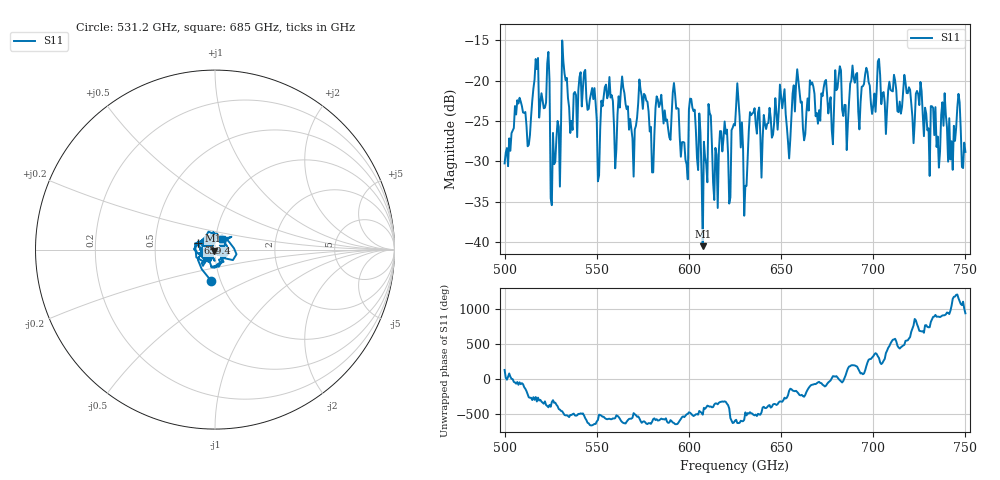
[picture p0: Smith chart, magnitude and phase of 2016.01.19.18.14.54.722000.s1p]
!Created with skrf (http://scikit-rf.org).
# GHz S RI R 50.0
!freq ReS11 ImS11
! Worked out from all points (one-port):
!   401 points, 500 GHz to 750 GHz, reference 50 ohm
!   lowest |S11| = -40.5 dB at 607.5 GHz (marker M1), VSWR 1.02, Z = 49.2 - j0.529 ohm
!   |S11| at or under -10 dB: start of sweep to end of sweep
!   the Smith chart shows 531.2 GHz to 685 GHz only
!   S11 on the Smith chart (normalised r, x): 531.2 GHz: 0.90, -0.33; 659.4 GHz: 0.83, +0.06; 685 GHz: 1.07, +0.13
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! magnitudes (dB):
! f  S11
! 500 GHz  -30.3
! 508.1 GHz  -22.1
! 513.1 GHz  -28.0
! 516.9 GHz  -17.3
! 523.1 GHz  -17.9
! 526.2 GHz  -26.5
! 531.2 GHz  -15.0
! 548.1 GHz  -22.3
! 550.6 GHz  -32.5
! 562.5 GHz  -23.3
! 570 GHz  -31.9
! 576.9 GHz  -22.5
! 580 GHz  -31.4
! 583.8 GHz  -23.3
! 593.8 GHz  -23.4
! 598.1 GHz  -29.8
! 601.9 GHz  -23.3
! 607.5 GHz  -40.5
! 622.5 GHz  -34.5
! 625 GHz  -25.6
! 630.6 GHz  -33.0
! 634.4 GHz  -24.1
! 656.2 GHz  -21.6
! 659.4 GHz  -20.0
! 685 GHz  -23.0
! 687.5 GHz  -20.4
! 718.8 GHz  -21.6
! 750 GHz  -28.8
